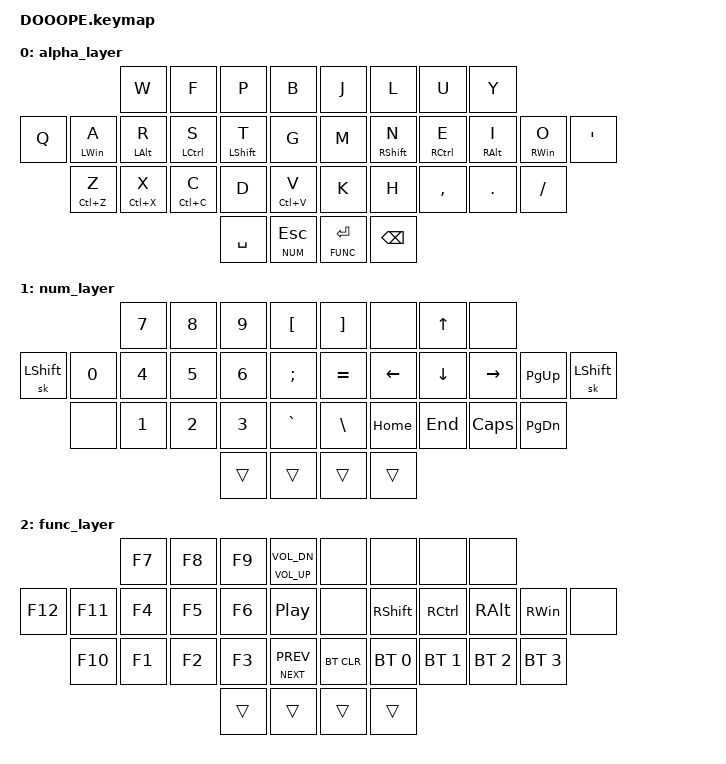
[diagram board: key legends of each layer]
#include <behaviors.dtsi>
#include <dt-bindings/zmk/keys.h>
#include <dt-bindings/zmk/bt.h>
#include <dt-bindings/zmk/outputs.h>

// dt-formatter: indent = "  "
// dt-formatter: reindentMultilineIntegerCells = "dedent"

/ {
    behaviors {
        hm: homerow_mods {
            compatible = "zmk,behavior-hold-tap";
            label = "HOMEROW_MODS";
            #binding-cells = <2>;
            tapping-term-ms = <150>;
            quick-tap-ms = <0>;
            flavor = "tap-preferred";
            bindings = <&kp>, <&kp>;
        };
    };

    combos {
        compatible = "zmk,combos";
        combo_tab {
            timeout-ms = <50>;
            key-positions = <30 32>;
            bindings = <&kp TAB>;
        };

        combo_ctrlBspc {
            timeout-ms = <50>;
            key-positions = <30 33>;
            bindings = <&kp LC(BSPC)>;
        };
    };

    keymap {
        compatible = "zmk,keymap";

        alpha_layer {

            bindings = <
                        &kp W         &kp F           &kp P           &kp B                     &kp J          &kp L           &kp U           &kp Y    
    &kp Q   &mt LWIN A  &mt LALT R    &mt LCTRL S     &mt LSHFT T     &kp G                     &kp M          &mt RSHFT N     &mt RCTRL E     &mt RALT I     &mt RWIN O    &kp SQT
            &hm LC(Z) Z &hm LC(X) X   &hm LC(C) C     &kp D           &hm LC(V) V               &kp K          &kp H           &kp COMMA       &kp DOT           &kp FSLH 
                                                      &kp SPACE       &lt NUM ESC               &lt FUNC RET   &kp BSPC
            >;
        };

        num_layer {

            bindings = <
                         &kp N7     &kp N8   &kp N9   &kp LBKT                                &kp RBKT   &none      &kp UP      &none    
    &sk LSHIFT  &kp N0   &kp N4     &kp N5   &kp N6   &kp SEMI                                &kp EQUAL  &kp LEFT   &kp DOWN    &kp RIGHT   &kp PG_UP  &sk LSHIFT
                &none    &kp N1     &kp N2   &kp N3   &kp GRAVE                               &kp BSLH   &kp HOME   &kp END     &kp CLCK    &kp PG_DN
                                             &trans   &trans                                  &trans     &trans
            >;
        };

        func_layer {

            bindings = <
                         &kp F7     &kp F8   &kp F9   &hm C_VOL_UP C_VOL_DN                 &none       &none          &none            &none    
    &kp F12    &kp F11   &kp F4     &kp F5   &kp F6   &kp C_PP                              &none       &kp RSHFT      &kp RCTRL        &kp RALT        &kp RWIN      &none
               &kp F10   &kp F1     &kp F2   &kp F3   &hm C_NEXT C_PREV                     &bt BT_CLR  &bt BT_SEL 0   &bt BT_SEL 1     &bt BT_SEL 2    &bt BT_SEL 3
                                             &trans   &trans                                &trans      &trans
            >;
        };
    };
};



